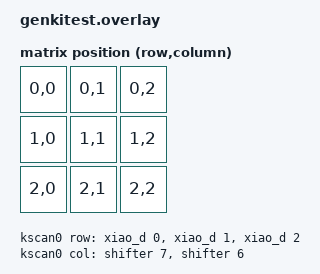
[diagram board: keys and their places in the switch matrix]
/*
 * Copyright (c) 2022 The ZMK Contributors
 *
 * SPDX-License-Identifier: MIT
 */

#include <dt-bindings/zmk/matrix_transform.h>

&xiao_serial { status = "disabled"; };

&xiao_spi {
	status = "okay";
	cs-gpios = <&xiao_d 9 GPIO_ACTIVE_LOW>;

	shifter: 595@0 {
		compatible = "zmk,gpio-595";
		status = "okay";
		gpio-controller;
		spi-max-frequency = <200000>;
		reg = <0>;
		label = "4HC595";
		#gpio-cells = <2>;
		ngpios = <8>;
	};
};


/ {
    chosen {
        zmk,kscan = &kscan0;
        zmk,matrix_transform = &default_transform;
        zmk,battery = &vbatt;
    };

    vbatt: vbatt {
        compatible = "zmk,battery-voltage-divider";
        label = "BATTERY";
        io-channels = <&adc 7>;
        power-gpios = <&gpio0 14 (GPIO_OPEN_DRAIN | GPIO_ACTIVE_LOW)>;
        output-ohms = <510000>;
        full-ohms = <(1000000 + 510000)>;
    };


    default_transform: keymap_transform_0 {
        compatible = "zmk,matrix-transform";
        columns = <2>;
        rows = <3>;
        //      | SW01  | SW02  | SW03  | SW04  | SW05  |    | SW05  | SW04  | SW03  | SW02  | SW01  |
        //      | SW06  | SW07  | SW08  | SW09  | SW10  |    | SW10  | SW09  | SW08  | SW07  | SW06  |
        //      | SW11  | SW12  | SW13  | SW14  | SW15  |    | SW15  | SW14  | SW13  | SW12  | SW11  |
        //                      | SW17  | SW18  | SW19  |    | SW19  | SW18  | SW17  |
        map = <
        RC(0,0) RC(0,1) RC(0,2)
        RC(1,0) RC(1,1) RC(1,2)
        RC(2,0) RC(2,1) RC(2,2)
        >;
    };


    kscan0: kscan_0 {
        compatible = "zmk,kscan-gpio-matrix";
        label = "KSCAN";

        diode-direction = "col2row";

        col-gpios
			= <&shifter 7 GPIO_ACTIVE_HIGH>
			, <&shifter 6 GPIO_ACTIVE_HIGH>
			;
		
		row-gpios
			= <&xiao_d 0 (GPIO_ACTIVE_HIGH | GPIO_PULL_DOWN)>
			, <&xiao_d 1 (GPIO_ACTIVE_HIGH | GPIO_PULL_DOWN)>
			, <&xiao_d 2 (GPIO_ACTIVE_HIGH | GPIO_PULL_DOWN)>
			;
    };
};
